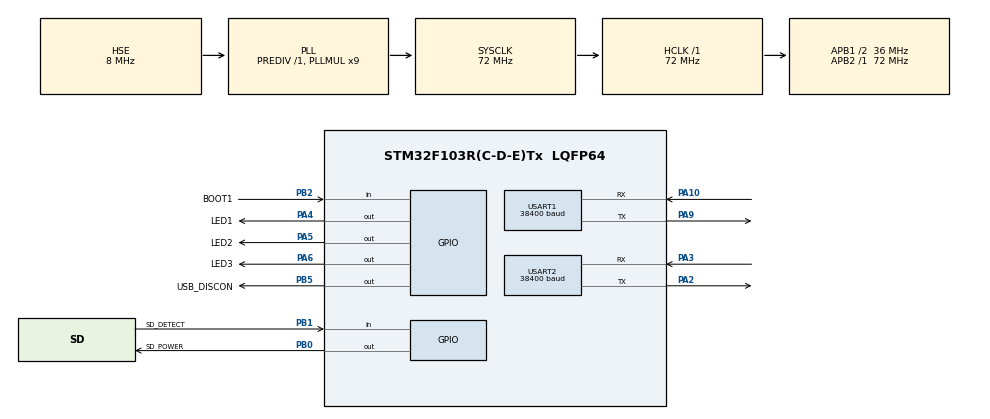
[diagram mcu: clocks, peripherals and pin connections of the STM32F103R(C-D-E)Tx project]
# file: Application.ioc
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Mcu.Family=STM32F1
Mcu.Name=STM32F103R(C-D-E)Tx
Mcu.Package=LQFP64
NVIC.PriorityGroup=NVIC_PRIORITYGROUP_4
NVIC.TIM6_IRQn=true\:0\:0\:false\:false\:true\:true\:true
NVIC.USART1_IRQn=true\:0\:0\:false\:false\:true\:true\:true
NVIC.USART2_IRQn=true\:0\:0\:false\:false\:true\:true\:true
PA10.Mode=Asynchronous
PA10.Signal=USART1_RX
PA13.Mode=Serial_Wire
PA13.Signal=SYS_JTMS-SWDIO
PA14.Mode=Serial_Wire
PA14.Signal=SYS_JTCK-SWCLK
PA2.Mode=Asynchronous
PA2.Signal=USART2_TX
PA3.Mode=Asynchronous
PA3.Signal=USART2_RX
PA4.GPIO_Label=LED1
PA4.Signal=GPIO_Output
PA5.GPIO_Label=LED2
PA5.Signal=GPIO_Output
PA6.GPIO_Label=LED3
PA6.Signal=GPIO_Output
PA9.Mode=Asynchronous
PA9.Signal=USART1_TX
PB0.GPIO_Label=SD_POWER
PB0.PinState=GPIO_PIN_SET
PB0.Signal=GPIO_Output
PB1.GPIO_Label=SD_DETECT
PB1.Signal=GPIO_Input
PB2.GPIO_Label=BOOT1
PB2.Signal=GPIO_Input
PB5.GPIO_Label=USB_DISCON
PB5.PinState=GPIO_PIN_SET
PB5.Signal=GPIO_Output
PC14-OSC32_IN.Mode=LSE-External-Oscillator
PC14-OSC32_IN.Signal=RCC_OSC32_IN
PC15-OSC32_OUT.Mode=LSE-External-Oscillator
PC15-OSC32_OUT.Signal=RCC_OSC32_OUT
PD0-OSC_IN.Mode=HSE-External-Oscillator
PD0-OSC_IN.Signal=RCC_OSC_IN
PD1-OSC_OUT.Mode=HSE-External-Oscillator
PD1-OSC_OUT.Signal=RCC_OSC_OUT
ProjectManager.HeapSize=0x200
ProjectManager.StackSize=0x400
ProjectManager.TargetToolchain=STM32CubeIDE
RCC.AHBFreq_Value=72000000
RCC.APB1CLKDivider=RCC_HCLK_DIV2
RCC.APB1Freq_Value=36000000
RCC.APB1TimFreq_Value=72000000
RCC.APB2Freq_Value=72000000
RCC.APB2TimFreq_Value=72000000
RCC.HCLKFreq_Value=72000000
RCC.PLLMUL=RCC_PLL_MUL9
RCC.PLLSourceVirtual=RCC_PLLSOURCE_HSE
RCC.SYSCLKFreq_VALUE=72000000
RCC.SYSCLKSource=RCC_SYSCLKSOURCE_PLLCLK
RCC.USBFreq_Value=72000000
TIM6.AutoReloadPreload=TIM_AUTORELOAD_PRELOAD_ENABLE
TIM6.Period=999
TIM6.Prescaler=7199
USART1.BaudRate=38400
USART1.VirtualMode=VM_ASYNC
USART2.BaudRate=38400
USART2.VirtualMode=VM_ASYNC
VP_TIM6_VS_ClockSourceINT.Mode=Enable_Timer
board=custom

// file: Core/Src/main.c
/* USER CODE BEGIN Header */
/**
  ******************************************************************************
  * @file           : main.c
  * @brief          : Main program body
  ******************************************************************************
  * @attention
  *
  * <h2><center>&copy; Copyright (c) 2021 STMicroelectronics.
  * All rights reserved.</center></h2>
  *
  * This software component is licensed by ST under BSD 3-Clause license,
  * the "License"; You may not use this file except in compliance with the
  * License. You may obtain a copy of the License at:
  *                        opensource.org/licenses/BSD-3-Clause
  *
  ******************************************************************************
  */
/* USER CODE END Header */
#include "main.h"

/* USER CODE BEGIN Includes */
#include "stdio.h"
#include "string.h"
/* USER CODE END Includes */

TIM_HandleTypeDef htim6;

UART_HandleTypeDef huart1;
UART_HandleTypeDef huart2;

/* USER CODE BEGIN PV */

char str[40];
uint16_t cnt = 0;
uint8_t indx_seq = 0;
char led_sequence[] = {1,0,0,0,0,1,0,1,0,0,0,0,1,0,1,0,1,0,0,0,0,0,0};

/* USER CODE END PV */

void SystemClock_Config(void);
static void MX_GPIO_Init(void);
static void MX_TIM6_Init(void);
static void MX_USART1_UART_Init(void);
static void MX_USART2_UART_Init(void);

/* USER CODE BEGIN 0 */

void Blink( void ) {

    cnt++;
    HAL_GPIO_WritePin( LED3_GPIO_Port, LED3_Pin, led_sequence[indx_seq++] );
    if ( indx_seq >= sizeof(led_sequence) ) {
        indx_seq = 0;
        sprintf( str, "UART1: %u\r", cnt );
        HAL_UART_Transmit( &huart1, (uint8_t*)str, strlen( str ), HAL_MAX_DELAY );
        sprintf( str, "UART2: %u\r", cnt );
        HAL_UART_Transmit( &huart2, (uint8_t*)str, strlen( str ), HAL_MAX_DELAY );
    }
}

/* USER CODE END 0 */

int main(void)
{

  /* MCU Configuration--------------------------------------------------------*/

  /* Reset of all peripherals, Initializes the Flash interface and the Systick. */
  HAL_Init();

  /* Configure the system clock */
  SystemClock_Config();

  /* Initialize all configured peripherals */
  MX_GPIO_Init();
  MX_TIM6_Init();
  MX_USART1_UART_Init();
  MX_USART2_UART_Init();
  /* USER CODE BEGIN 2 */
    HAL_TIM_Base_Start_IT( &htim6 );
    HAL_GPIO_WritePin( LED3_GPIO_Port, LED3_Pin, GPIO_PIN_SET );
  /* USER CODE END 2 */

  /* Infinite loop */
    while ( 1 ) {

    }
}

void SystemClock_Config(void)
{
  RCC_OscInitTypeDef RCC_OscInitStruct = {0};
  RCC_ClkInitTypeDef RCC_ClkInitStruct = {0};

  /** Initializes the RCC Oscillators according to the specified parameters
  * in the RCC_OscInitTypeDef structure.
  */
  RCC_OscInitStruct.OscillatorType = RCC_OSCILLATORTYPE_HSE;
  RCC_OscInitStruct.HSEState = RCC_HSE_ON;
  RCC_OscInitStruct.HSEPredivValue = RCC_HSE_PREDIV_DIV1;
  RCC_OscInitStruct.HSIState = RCC_HSI_ON;
  RCC_OscInitStruct.PLL.PLLState = RCC_PLL_ON;
  RCC_OscInitStruct.PLL.PLLSource = RCC_PLLSOURCE_HSE;
  RCC_OscInitStruct.PLL.PLLMUL = RCC_PLL_MUL9;
  if (HAL_RCC_OscConfig(&RCC_OscInitStruct) != HAL_OK)
  {
    Error_Handler();
  }
  /** Initializes the CPU, AHB and APB buses clocks
  */
  RCC_ClkInitStruct.ClockType = RCC_CLOCKTYPE_HCLK|RCC_CLOCKTYPE_SYSCLK
                              |RCC_CLOCKTYPE_PCLK1|RCC_CLOCKTYPE_PCLK2;
  RCC_ClkInitStruct.SYSCLKSource = RCC_SYSCLKSOURCE_PLLCLK;
  RCC_ClkInitStruct.AHBCLKDivider = RCC_SYSCLK_DIV1;
  RCC_ClkInitStruct.APB1CLKDivider = RCC_HCLK_DIV2;
  RCC_ClkInitStruct.APB2CLKDivider = RCC_HCLK_DIV1;

  if (HAL_RCC_ClockConfig(&RCC_ClkInitStruct, FLASH_LATENCY_2) != HAL_OK)
  {
    Error_Handler();
  }
}

static void MX_TIM6_Init(void)
{

  TIM_MasterConfigTypeDef sMasterConfig = {0};

  htim6.Instance = TIM6;
  htim6.Init.Prescaler = 7199;
  htim6.Init.CounterMode = TIM_COUNTERMODE_UP;
  htim6.Init.Period = 999;
  htim6.Init.AutoReloadPreload = TIM_AUTORELOAD_PRELOAD_ENABLE;
  if (HAL_TIM_Base_Init(&htim6) != HAL_OK)
  {
    Error_Handler();
  }
  sMasterConfig.MasterOutputTrigger = TIM_TRGO_RESET;
  sMasterConfig.MasterSlaveMode = TIM_MASTERSLAVEMODE_DISABLE;
  if (HAL_TIMEx_MasterConfigSynchronization(&htim6, &sMasterConfig) != HAL_OK)
  {
    Error_Handler();
  }

}

static void MX_USART1_UART_Init(void)
{

  huart1.Instance = USART1;
  huart1.Init.BaudRate = 38400;
  huart1.Init.WordLength = UART_WORDLENGTH_8B;
  huart1.Init.StopBits = UART_STOPBITS_1;
  huart1.Init.Parity = UART_PARITY_NONE;
  huart1.Init.Mode = UART_MODE_TX_RX;
  huart1.Init.HwFlowCtl = UART_HWCONTROL_NONE;
  huart1.Init.OverSampling = UART_OVERSAMPLING_16;
  if (HAL_UART_Init(&huart1) != HAL_OK)
  {
    Error_Handler();
  }

}

static void MX_USART2_UART_Init(void)
{

  huart2.Instance = USART2;
  huart2.Init.BaudRate = 38400;
  huart2.Init.WordLength = UART_WORDLENGTH_8B;
  huart2.Init.StopBits = UART_STOPBITS_1;
  huart2.Init.Parity = UART_PARITY_NONE;
  huart2.Init.Mode = UART_MODE_TX_RX;
  huart2.Init.HwFlowCtl = UART_HWCONTROL_NONE;
  huart2.Init.OverSampling = UART_OVERSAMPLING_16;
  if (HAL_UART_Init(&huart2) != HAL_OK)
  {
    Error_Handler();
  }

}

static void MX_GPIO_Init(void)
{
  GPIO_InitTypeDef GPIO_InitStruct = {0};

  /* GPIO Ports Clock Enable */
  __HAL_RCC_GPIOC_CLK_ENABLE();
  __HAL_RCC_GPIOD_CLK_ENABLE();
  __HAL_RCC_GPIOA_CLK_ENABLE();
  __HAL_RCC_GPIOB_CLK_ENABLE();

  /*Configure GPIO pin Output Level */
  HAL_GPIO_WritePin(GPIOA, LED1_Pin|LED2_Pin|LED3_Pin, GPIO_PIN_RESET);

  /*Configure GPIO pin Output Level */
  HAL_GPIO_WritePin(GPIOB, SD_POWER_Pin|USB_DISCON_Pin, GPIO_PIN_SET);

  /*Configure GPIO pins : LED1_Pin LED2_Pin LED3_Pin */
  GPIO_InitStruct.Pin = LED1_Pin|LED2_Pin|LED3_Pin;
  GPIO_InitStruct.Mode = GPIO_MODE_OUTPUT_PP;
  GPIO_InitStruct.Pull = GPIO_NOPULL;
  GPIO_InitStruct.Speed = GPIO_SPEED_FREQ_LOW;
  HAL_GPIO_Init(GPIOA, &GPIO_InitStruct);

  /*Configure GPIO pins : SD_POWER_Pin USB_DISCON_Pin */
  GPIO_InitStruct.Pin = SD_POWER_Pin|USB_DISCON_Pin;
  GPIO_InitStruct.Mode = GPIO_MODE_OUTPUT_PP;
  GPIO_InitStruct.Pull = GPIO_NOPULL;
  GPIO_InitStruct.Speed = GPIO_SPEED_FREQ_LOW;
  HAL_GPIO_Init(GPIOB, &GPIO_InitStruct);

  /*Configure GPIO pins : SD_DETECT_Pin BOOT1_Pin */
  GPIO_InitStruct.Pin = SD_DETECT_Pin|BOOT1_Pin;
  GPIO_InitStruct.Mode = GPIO_MODE_INPUT;
  GPIO_InitStruct.Pull = GPIO_NOPULL;
  HAL_GPIO_Init(GPIOB, &GPIO_InitStruct);

}

void Error_Handler(void)
{
}

/************************ (C) COPYRIGHT STMicroelectronics *****END OF FILE****/
